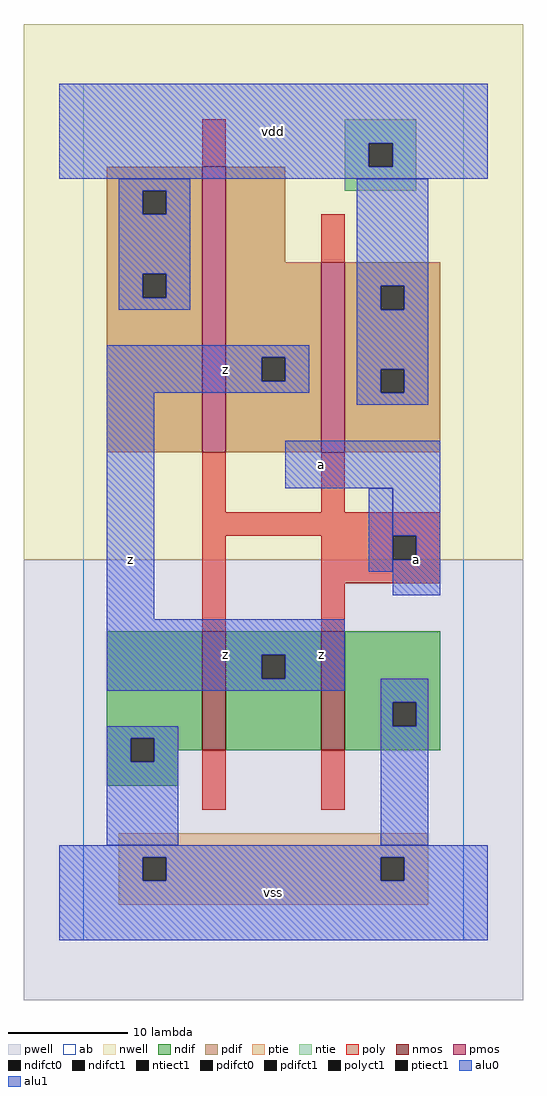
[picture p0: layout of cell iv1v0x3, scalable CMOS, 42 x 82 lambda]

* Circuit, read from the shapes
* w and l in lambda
.subckt iv1v0x3 a vdd vss z
M1 z a vss vss nfet w=10 l=2 m=2
M2 z a vdd vdd pfet w=24 l=2
M3 vdd a z vdd pfet w=16 l=2
.ends

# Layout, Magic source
magic
tech scmos
<< ab >>
rect 0 0 32 72
<< nwell >>
rect -5 32 37 77
<< pwell >>
rect -5 -5 37 32
<< poly >>
rect 10 65 12 69
rect 20 57 22 61
rect 10 36 12 41
rect 20 36 22 41
rect 10 34 30 36
rect 10 26 12 34
rect 20 32 26 34
rect 28 32 30 34
rect 20 30 30 32
rect 20 26 22 30
rect 10 11 12 16
rect 20 11 22 16
<< ndif >>
rect 2 17 10 26
rect 2 15 4 17
rect 6 16 10 17
rect 12 24 20 26
rect 12 22 15 24
rect 17 22 20 24
rect 12 16 20 22
rect 22 20 30 26
rect 22 18 26 20
rect 28 18 30 20
rect 22 16 30 18
rect 6 15 8 16
rect 2 13 8 15
<< pdif >>
rect 2 63 10 65
rect 2 61 5 63
rect 7 61 10 63
rect 2 56 10 61
rect 2 54 5 56
rect 7 54 10 56
rect 2 41 10 54
rect 12 57 17 65
rect 12 49 20 57
rect 12 47 15 49
rect 17 47 20 49
rect 12 41 20 47
rect 22 55 30 57
rect 22 53 25 55
rect 27 53 30 55
rect 22 48 30 53
rect 22 46 25 48
rect 27 46 30 48
rect 22 41 30 46
<< alu1 >>
rect -2 67 34 72
rect -2 65 24 67
rect 26 65 34 67
rect -2 64 34 65
rect 2 49 19 50
rect 2 47 15 49
rect 17 47 19 49
rect 2 46 19 47
rect 2 27 6 46
rect 17 38 30 42
rect 26 34 30 38
rect 28 32 30 34
rect 26 29 30 32
rect 2 24 22 27
rect 2 22 15 24
rect 17 22 22 24
rect 2 21 22 22
rect -2 7 34 8
rect -2 5 5 7
rect 7 5 25 7
rect 27 5 34 7
rect -2 0 34 5
<< ptie >>
rect 3 7 29 9
rect 3 5 5 7
rect 7 5 25 7
rect 27 5 29 7
rect 3 3 29 5
<< ntie >>
rect 22 67 28 69
rect 22 65 24 67
rect 26 65 28 67
rect 22 63 28 65
<< nmos >>
rect 10 16 12 26
rect 20 16 22 26
<< pmos >>
rect 10 41 12 65
rect 20 41 22 57
<< polyct1 >>
rect 26 32 28 34
<< ndifct0 >>
rect 4 15 6 17
rect 26 18 28 20
<< ndifct1 >>
rect 15 22 17 24
<< ntiect1 >>
rect 24 65 26 67
<< ptiect1 >>
rect 5 5 7 7
rect 25 5 27 7
<< pdifct0 >>
rect 5 61 7 63
rect 5 54 7 56
rect 25 53 27 55
rect 25 46 27 48
<< pdifct1 >>
rect 15 47 17 49
<< alu0 >>
rect 3 63 9 64
rect 3 61 5 63
rect 7 61 9 63
rect 3 56 9 61
rect 3 54 5 56
rect 7 54 9 56
rect 3 53 9 54
rect 23 55 29 64
rect 23 53 25 55
rect 27 53 29 55
rect 23 48 29 53
rect 23 46 25 48
rect 27 46 29 48
rect 23 45 29 46
rect 24 31 26 38
rect 25 20 29 22
rect 25 18 26 20
rect 28 18 29 20
rect 2 17 8 18
rect 2 15 4 17
rect 6 15 8 17
rect 2 8 8 15
rect 25 8 29 18
<< labels >>
rlabel alu1 4 32 4 32 6 z
rlabel alu1 12 24 12 24 6 z
rlabel alu1 12 48 12 48 6 z
rlabel alu1 16 4 16 4 6 vss
rlabel alu1 20 24 20 24 6 z
rlabel alu1 20 40 20 40 6 a
rlabel alu1 16 68 16 68 6 vdd
rlabel alu1 28 32 28 32 6 a
<< end >>
